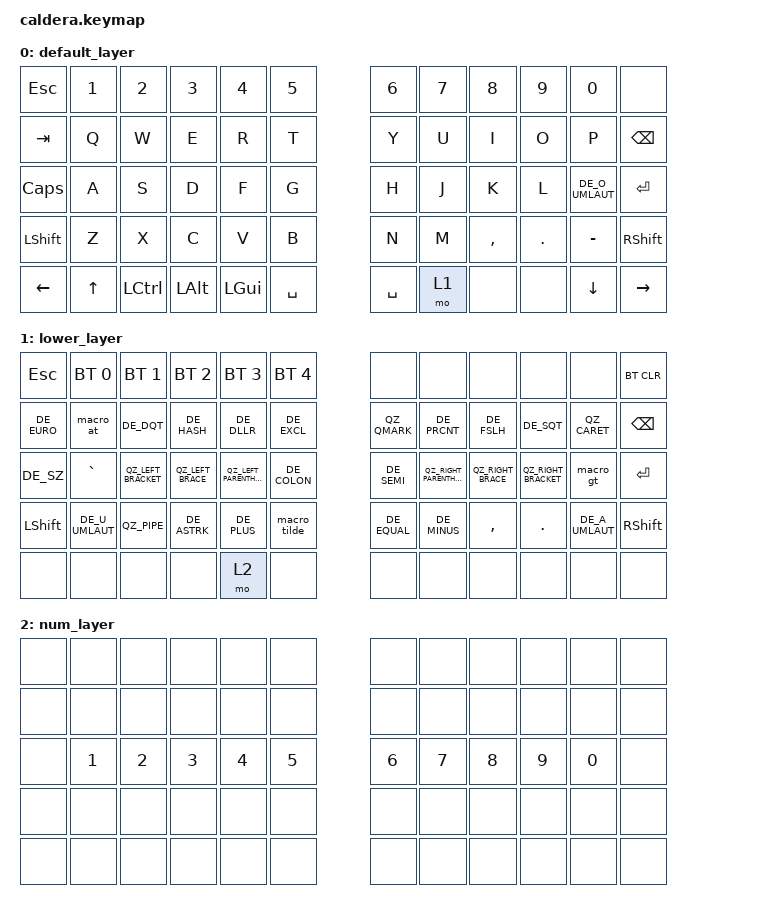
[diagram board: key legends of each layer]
#include <behaviors.dtsi>
#include <dt-bindings/zmk/keys.h>
#include <dt-bindings/zmk/bt.h>
#include "keys_de.h"
#include "qwertz_macros.h"

/ {
    macros {
        macro_at: macro_at {
            compatible = "zmk,behavior-macro";
            #binding-cells = <0>;
            bindings = <&kp RA(L)>;
        };

        macro_tilde: macro_tilde {
            compatible = "zmk,behavior-macro";
            #binding-cells = <0>;
            bindings = <&kp LA(N)>;
        };

        macro_gt: macro_gt {
            compatible = "zmk,behavior-macro";
            #binding-cells = <0>;
            bindings = <&kp LS(GRAVE)>;
        };
    };
};

/ {
    keymap {
        compatible = "zmk,keymap";

//      ╭───────┬───────┬───────┬───────┬───────┬───────╮     ╭───────┬───────┬───────┬───────┬───────┬───────╮
//      │ ESC   │   1   │   2   │   3   │   4   │   5   │     │   6   │   7   │   8   │   9   │   0   │       │
//      │ TAB   │   Q   │   W   │   E   │   R   │   T   │     │   Y   │   U   │   I   │   O   │   P   │ BKSP  │
//      │ CAPS  │   A   │   S   │   D   │   F   │   G   │     │   H   │   J   │   K   │   L   │   OE  │  ENT  │
//      │ SHFT  │   Z   │   X   │   C   │   V   │   B   │     │   N   │   M   │   ,   │   .   │   -   │ SHFT  │
//      │ LARW  │ UARW  │ CTRL  │  ALT  │  GUI  │  SPC  │     │  SPC  │  LOW  │       │       │ DARW  │ RARW  │
//      ╰───────┴───────┴───────┴───────┴───────┴───────╯     ╰───────┴───────┴───────┴───────┴───────┴───────╯
        default_layer {
            bindings = <
                &kp ESC      &kp N1    &kp N2     &kp N3     &kp N4     &kp N5               &kp N6     &kp N7  &kp N8     &kp N9    &kp N0           &none
                &kp TAB      &kp Q     &kp W      &kp E      &kp R      &kp T                &kp Y      &kp U   &kp I      &kp O     &kp P            &kp BSPC
                &kp CAPS     &kp A     &kp S      &kp D      &kp F      &kp G                &kp H      &kp J   &kp K      &kp L     &kp DE_O_UMLAUT  &kp RET
                &kp LSHFT    &kp Z     &kp X      &kp C      &kp V      &kp B                &kp N      &kp M   &kp COMMA  &kp DOT   &kp MINUS        &kp RSHFT
                &kp LEFT     &kp UP    &kp LCTRL  &kp LALT   &kp LGUI   &kp SPACE            &kp SPACE  &mo 1   &none      &none     &kp DOWN         &kp RIGHT
            >;
        };

//      ╭───────┬───────┬───────┬───────┬───────┬───────╮     ╭───────┬───────┬───────┬───────┬───────┬───────╮
//      │  ESC  │  BT1  │  BT2  │  BT3  │  BT4  │  BT5  │     │       │       │       │       │       │ BTCLR │
//      │   €   │   @   │   "   │   #   │   $   │   !   │     │   ?   │   %   │ SLSH  │   '   │   ^   │ BKSP  │
//      │ SZTT  │   <   │   [   │   {   │   (   │   :   │     │   ;   │   )   │   }   │   ]   │   >   │  ENT  │
//      │ SHFT  │  UE   │   |   │   *   │   +   │   ~   │     │   =   │   -   │   ,   │   .   │  AE   │ SHFT  │
//      │       │       │       │       │  LOW  │       │     │       │       │       │       │       │       │
//      ╰───────┴───────┴───────┴───────┴───────┴───────╯     ╰───────┴───────┴───────┴───────┴───────┴───────╯
        lower_layer {
            bindings = <
                &kp ESC      &bt BT_SEL 0     &bt BT_SEL 1         &bt BT_SEL 2       &bt BT_SEL 3             &bt BT_SEL 4           &none         &none                     &none               &none                 &none             &bt BT_CLR
                &kp DE_EURO  &macro_at        &kp DE_DQT           &kp DE_HASH        &kp DE_DLLR              &kp DE_EXCL            &kp QZ_QMARK  &kp DE_PRCNT              &kp DE_FSLH         &kp DE_SQT            &kp QZ_CARET      &kp BSPC
                &kp DE_SZ    &kp GRAVE        &kp QZ_LEFT_BRACKET  &kp QZ_LEFT_BRACE  &kp QZ_LEFT_PARENTHESIS  &kp DE_COLON           &kp DE_SEMI   &kp QZ_RIGHT_PARENTHESIS  &kp QZ_RIGHT_BRACE  &kp QZ_RIGHT_BRACKET  &macro_gt         &kp RET
                &kp LSHFT    &kp DE_U_UMLAUT  &kp QZ_PIPE          &kp DE_ASTRK       &kp DE_PLUS              &macro_tilde           &kp DE_EQUAL  &kp DE_MINUS              &kp COMMA           &kp DOT               &kp DE_A_UMLAUT   &kp RSHFT
                &none        &none            &none                &none              &mo 2                    &none                  &none         &none                     &none               &none                 &none             &none

            >;
        };

//      ╭───────┬───────┬───────┬───────┬───────┬───────╮     ╭───────┬───────┬───────┬───────┬───────┬───────╮
//      │       │       │       │       │       │       │     │       │       │       │       │       │       │
//      │       │       │       │       │       │       │     │       │       │       │       │       │       │
//      │       │   1   │   2   │   3   │   4   │   5   │     │   6   │   7   │   8   │   9   │   0   │       │
//      │       │       │       │       │       │       │     │       │       │       │       │       │       │
//      │       │       │       │       │       │       │     │       │       │       │       │       │       │
//      ╰───────┴───────┴───────┴───────┴───────┴───────╯     ╰───────┴───────┴───────┴───────┴───────┴───────╯
        num_layer {
            bindings = <
                &none    &none    &none    &none    &none    &none        &none    &none    &none    &none    &none    &none
                &none    &none    &none    &none    &none    &none        &none    &none    &none    &none    &none    &none
                &none    &kp N1   &kp N2   &kp N3   &kp N4   &kp N5       &kp N6   &kp N7   &kp N8   &kp N9   &kp N0   &none
                &none    &none    &none    &none    &none    &none        &none    &none    &none    &none    &none    &none
                &none    &none    &none    &none    &none    &none        &none    &none    &none    &none    &none    &none
            >;
        };
    };
};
